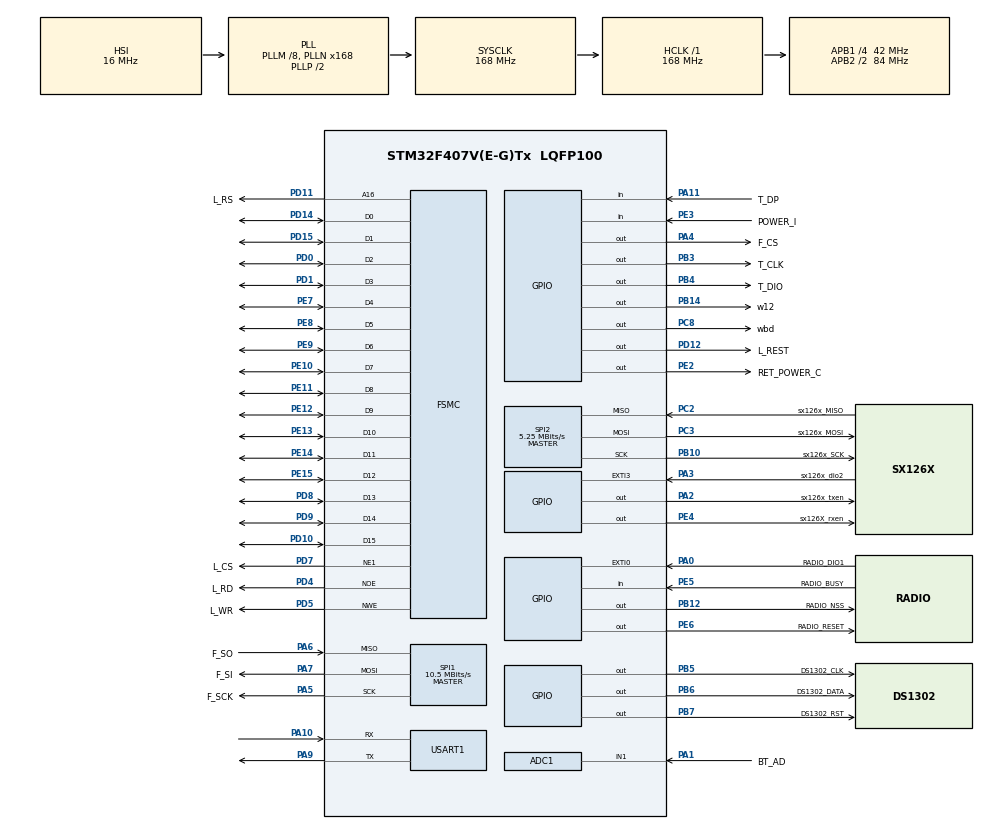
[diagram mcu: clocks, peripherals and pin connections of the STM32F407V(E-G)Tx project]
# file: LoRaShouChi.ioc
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ADC1.Channel-0\#ChannelRegularConversion=ADC_CHANNEL_1
ADC1.NbrOfConversionFlag=1
ADC1.Rank-0\#ChannelRegularConversion=1
ADC1.SamplingTime-0\#ChannelRegularConversion=ADC_SAMPLETIME_3CYCLES
ADC1.master=1
Mcu.Family=STM32F4
Mcu.Name=STM32F407V(E-G)Tx
Mcu.Package=LQFP100
NVIC.EXTI0_IRQn=true\:2\:0\:true\:false\:true\:true\:true
NVIC.PriorityGroup=NVIC_PRIORITYGROUP_4
NVIC.TIM8_TRG_COM_TIM14_IRQn=true\:1\:0\:true\:false\:true\:true\:true
PA0-WKUP.GPIO_Label=RADIO_DIO1
PA0-WKUP.GPIO_ModeDefaultEXTI=GPIO_MODE_IT_RISING
PA0-WKUP.GPIO_PuPd=GPIO_PULLDOWN
PA0-WKUP.Signal=GPXTI0
PA1.GPIO_Label=BT_AD
PA1.Signal=ADCx_IN1
PA10.Mode=Asynchronous
PA10.Signal=USART1_RX
PA11.GPIO_Label=T_DP
PA11.Signal=GPIO_Input
PA13.Mode=Serial_Wire
PA13.Signal=SYS_JTMS-SWDIO
PA14.Mode=Serial_Wire
PA14.Signal=SYS_JTCK-SWCLK
PA2.GPIO_Label=sx126x_txen
PA2.GPIO_PuPd=GPIO_PULLUP
PA2.PinState=GPIO_PIN_SET
PA2.Signal=GPIO_Output
PA3.GPIO_Label=sx126x_dio2
PA3.Signal=GPXTI3
PA4.GPIO_Label=F_CS
PA4.GPIO_PuPd=GPIO_NOPULL
PA4.GPIO_Speed=GPIO_SPEED_FREQ_HIGH
PA4.PinState=GPIO_PIN_SET
PA4.Signal=GPIO_Output
PA5.GPIO_Label=F_SCK
PA5.Mode=Full_Duplex_Master
PA5.Signal=SPI1_SCK
PA6.GPIO_Label=F_SO
PA6.Mode=Full_Duplex_Master
PA6.Signal=SPI1_MISO
PA7.GPIO_Label=F_SI
PA7.Mode=Full_Duplex_Master
PA7.Signal=SPI1_MOSI
PA9.Mode=Asynchronous
PA9.Signal=USART1_TX
PB10.GPIO_Label=sx126x_SCK
PB10.Mode=Full_Duplex_Master
PB10.Signal=SPI2_SCK
PB12.GPIO_Label=RADIO_NSS
PB12.GPIO_PuPd=GPIO_NOPULL
PB12.GPIO_Speed=GPIO_SPEED_FREQ_HIGH
PB12.PinState=GPIO_PIN_SET
PB12.Signal=GPIO_Output
PB14.GPIO_Label=w12
PB14.GPIO_PuPd=GPIO_PULLUP
PB14.PinState=GPIO_PIN_SET
PB14.Signal=GPIO_Output
PB3.GPIO_Label=T_CLK
PB3.GPIO_PuPd=GPIO_PULLUP
PB3.GPIO_Speed=GPIO_SPEED_FREQ_MEDIUM
PB3.Signal=GPIO_Output
PB4.GPIO_Label=T_DIO
PB4.GPIO_PuPd=GPIO_PULLUP
PB4.GPIO_Speed=GPIO_SPEED_FREQ_MEDIUM
PB4.Signal=GPIO_Output
PB5.GPIO_Label=DS1302_CLK
PB5.GPIO_Speed=GPIO_SPEED_FREQ_MEDIUM
PB5.Signal=GPIO_Output
PB6.GPIO_Label=DS1302_DATA
PB6.GPIO_Speed=GPIO_SPEED_FREQ_MEDIUM
PB6.Signal=GPIO_Output
PB7.GPIO_Label=DS1302_RST
PB7.GPIO_Speed=GPIO_SPEED_FREQ_MEDIUM
PB7.Signal=GPIO_Output
PC2.GPIO_Label=sx126x_MISO
PC2.Mode=Full_Duplex_Master
PC2.Signal=SPI2_MISO
PC3.GPIO_Label=sx126x_MOSI
PC3.Mode=Full_Duplex_Master
PC3.Signal=SPI2_MOSI
PC8.GPIO_Label=wbd
PC8.GPIO_PuPd=GPIO_PULLUP
PC8.PinState=GPIO_PIN_SET
PC8.Signal=GPIO_Output
PD0.Mode=16b-d1
PD0.Signal=FSMC_D2
PD1.Mode=16b-d1
PD1.Signal=FSMC_D3
PD10.Mode=16b-d1
PD10.Signal=FSMC_D15
PD11.GPIO_Label=L_RS
PD11.Mode=A16_1
PD11.Signal=FSMC_A16
PD12.GPIO_Label=L_REST
PD12.GPIO_PuPd=GPIO_PULLUP
PD12.PinState=GPIO_PIN_SET
PD12.Signal=GPIO_Output
PD14.Mode=16b-d1
PD14.Signal=FSMC_D0
PD15.Mode=16b-d1
PD15.Signal=FSMC_D1
PD4.GPIO_Label=L_RD
PD4.Mode=Lcd1
PD4.Signal=FSMC_NOE
PD5.GPIO_Label=L_WR
PD5.Mode=Lcd1
PD5.Signal=FSMC_NWE
PD7.GPIO_Label=L_CS
PD7.Mode=NorPsramChipSelect1_1
PD7.Signal=FSMC_NE1
PD8.Mode=16b-d1
PD8.Signal=FSMC_D13
PD9.Mode=16b-d1
PD9.Signal=FSMC_D14
PE10.Mode=16b-d1
PE10.Signal=FSMC_D7
PE11.Mode=16b-d1
PE11.Signal=FSMC_D8
PE12.Mode=16b-d1
PE12.Signal=FSMC_D9
PE13.Mode=16b-d1
PE13.Signal=FSMC_D10
PE14.Mode=16b-d1
PE14.Signal=FSMC_D11
PE15.Mode=16b-d1
PE15.Signal=FSMC_D12
PE2.GPIO_Label=RET_POWER_C
PE2.GPIO_PuPd=GPIO_PULLUP
PE2.PinState=GPIO_PIN_SET
PE2.Signal=GPIO_Output
PE3.GPIO_Label=POWER_I
PE3.Signal=GPIO_Input
PE4.GPIO_Label=sx126X_rxen
PE4.GPIO_PuPd=GPIO_PULLUP
PE4.PinState=GPIO_PIN_SET
PE4.Signal=GPIO_Output
PE5.GPIO_Label=RADIO_BUSY
PE5.GPIO_PuPd=GPIO_PULLUP
PE5.Signal=GPIO_Input
PE6.GPIO_Label=RADIO_RESET
PE6.GPIO_PuPd=GPIO_PULLUP
PE6.PinState=GPIO_PIN_SET
PE6.Signal=GPIO_Output
PE7.Mode=16b-d1
PE7.Signal=FSMC_D4
PE8.Mode=16b-d1
PE8.Signal=FSMC_D5
PE9.Mode=16b-d1
PE9.Signal=FSMC_D6
PH0-OSC_IN.Mode=HSE-External-Oscillator
PH0-OSC_IN.Signal=RCC_OSC_IN
PH1-OSC_OUT.Mode=HSE-External-Oscillator
PH1-OSC_OUT.Signal=RCC_OSC_OUT
ProjectManager.HeapSize=0x200
ProjectManager.StackSize=0x400
ProjectManager.TargetToolchain=Other Toolchains (GPDSC)
RCC.48MHZClocksFreq_Value=84000000
RCC.AHBFreq_Value=168000000
RCC.APB1CLKDivider=RCC_HCLK_DIV4
RCC.APB1Freq_Value=42000000
RCC.APB1TimFreq_Value=84000000
RCC.APB2CLKDivider=RCC_HCLK_DIV2
RCC.APB2Freq_Value=84000000
RCC.APB2TimFreq_Value=168000000
RCC.CortexFreq_Value=168000000
RCC.HCLKFreq_Value=168000000
RCC.HSE_VALUE=8000000
RCC.HSI_VALUE=16000000
RCC.LSE_VALUE=32768
RCC.PLLM=8
RCC.PLLN=168
RCC.SYSCLKFreq_VALUE=168000000
RCC.SYSCLKSource=RCC_SYSCLKSOURCE_PLLCLK
RCC.VCOOutputFreq_Value=336000000
SH.ADCx_IN1.0=ADC1_IN1,IN1
SPI1.BaudRatePrescaler=SPI_BAUDRATEPRESCALER_8
SPI1.CalculateBaudRate=10.5 MBits/s
SPI1.Direction=SPI_DIRECTION_2LINES
SPI1.Mode=SPI_MODE_MASTER
SPI1.VirtualType=VM_MASTER
SPI2.BaudRatePrescaler=SPI_BAUDRATEPRESCALER_8
SPI2.CalculateBaudRate=5.25 MBits/s
SPI2.Direction=SPI_DIRECTION_2LINES
SPI2.Mode=SPI_MODE_MASTER
SPI2.VirtualType=VM_MASTER
TIM14.Period=10000
TIM14.Prescaler=84
USART1.VirtualMode=VM_ASYNC
VP_TIM14_VS_ClockSourceINT.Mode=Enable_Timer
board=custom

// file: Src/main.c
/* USER CODE BEGIN Header */
/**
  ******************************************************************************
  * @file           : main.c
  * @brief          : Main program body
  ******************************************************************************
  * @attention
  *
  * <h2><center>&copy; Copyright (c) 2020 STMicroelectronics.
  * All rights reserved.</center></h2>
  *
  * This software component is licensed by ST under BSD 3-Clause license,
  * the "License"; You may not use this file except in compliance with the
  * License. You may obtain a copy of the License at:
  *                        opensource.org/licenses/BSD-3-Clause
  *
  ******************************************************************************
  */
/* USER CODE END Header */

#include "main.h"
#include "adc.h"
#include "spi.h"
#include "tim.h"
#include "usart.h"
#include "gpio.h"
#include "fsmc.h"

/* USER CODE BEGIN Includes */
#include "wfSys.h"
#include "LoraProc.h"
#include "TMRList.h"
#include "..\wf\LCD\lcd.h"
#include "FRAM.h"
#include "DS1302.h"
#include <stdio.h>
#include "CP1616_Client.h"
#include "..\wf\LCD\logo1.h"
#include "..\wf\LCD\logo2.h"
#include "..\LoRaShouChi\strHYGL.h"
#include "..\wf\LCD\Strings4Show.h"
/* USER CODE END Includes */

void SystemClock_Config(void);

/* USER CODE BEGIN 0 */
void ShowBatV(void);
void ShowLogo(void);
/* USER CODE END 0 */

int main(void)
{

  /* MCU Configuration--------------------------------------------------------*/

  /* Reset of all peripherals, Initializes the Flash interface and the Systick. */
  HAL_Init();

  /* Configure the system clock */
  SystemClock_Config();

  /* Initialize all configured peripherals */
  MX_GPIO_Init();
  MX_FSMC_Init();
  MX_SPI1_Init();
  MX_SPI2_Init();
  MX_ADC1_Init();
  MX_USART1_UART_Init();
  MX_TIM14_Init();
  /* USER CODE BEGIN 2 */
  wfDelay_init(168);
  TmrListInit();
  LoRaProc_Init();
  FRAM_Init();
  LCD_Init();
  DS1302_Init();
  DS1302_Switch(1);
  DS1302_SetHour24(1);
  DS1302_GetTime();
  CP1616_Client_Init();
  CP1616_Client_Addr = 0x0001;
  ShowLogo();
  /* USER CODE END 2 */

  /* Infinite loop */
  /* USER CODE BEGIN WHILE */
  ShowBatV();
  while (HAL_GetTick() < 3000);//开机画面3秒
  while (1)
  {
    /* USER CODE END WHILE */

  }
}

void SystemClock_Config(void)
{
  RCC_OscInitTypeDef RCC_OscInitStruct = {0};
  RCC_ClkInitTypeDef RCC_ClkInitStruct = {0};

  /** Configure the main internal regulator output voltage
  */
  __HAL_RCC_PWR_CLK_ENABLE();
  __HAL_PWR_VOLTAGESCALING_CONFIG(PWR_REGULATOR_VOLTAGE_SCALE1);
  /** Initializes the CPU, AHB and APB busses clocks
  */
  RCC_OscInitStruct.OscillatorType = RCC_OSCILLATORTYPE_HSI;
  RCC_OscInitStruct.HSIState = RCC_HSI_ON;
  RCC_OscInitStruct.HSICalibrationValue = RCC_HSICALIBRATION_DEFAULT;
  RCC_OscInitStruct.PLL.PLLState = RCC_PLL_ON;
  RCC_OscInitStruct.PLL.PLLSource = RCC_PLLSOURCE_HSI;
  RCC_OscInitStruct.PLL.PLLM = 8;
  RCC_OscInitStruct.PLL.PLLN = 168;
  RCC_OscInitStruct.PLL.PLLP = RCC_PLLP_DIV2;
  RCC_OscInitStruct.PLL.PLLQ = 4;
  if (HAL_RCC_OscConfig(&RCC_OscInitStruct) != HAL_OK)
  {
    Error_Handler();
  }
  /** Initializes the CPU, AHB and APB busses clocks
  */
  RCC_ClkInitStruct.ClockType = RCC_CLOCKTYPE_HCLK|RCC_CLOCKTYPE_SYSCLK
                              |RCC_CLOCKTYPE_PCLK1|RCC_CLOCKTYPE_PCLK2;
  RCC_ClkInitStruct.SYSCLKSource = RCC_SYSCLKSOURCE_PLLCLK;
  RCC_ClkInitStruct.AHBCLKDivider = RCC_SYSCLK_DIV1;
  RCC_ClkInitStruct.APB1CLKDivider = RCC_HCLK_DIV4;
  RCC_ClkInitStruct.APB2CLKDivider = RCC_HCLK_DIV2;

  if (HAL_RCC_ClockConfig(&RCC_ClkInitStruct, FLASH_LATENCY_5) != HAL_OK)
  {
    Error_Handler();
  }
}

/* USER CODE BEGIN 4 */
void ShowBatV(void)
{
	unsigned char i;
	unsigned int AD;
	unsigned char x;
	unsigned int ix;
	unsigned char DisplayLine[31];
	unsigned long l;
	AD = 0;
	for (i = 0; i < 8; i++)
	{
		HAL_ADC_Start(&hadc1);
		HAL_ADC_PollForConversion(&hadc1, 100);
		AD += HAL_ADC_GetValue(&hadc1);
		wfDelay_ms(5);
	}
	AD = AD >> 3;
	l = ((unsigned long)AD) * 1000;
	l = l * 3;
	l = l / 6;
	ix = (unsigned int)(l >> 9);
	if (ix < 583)
		ix = 0;
	else
	{
		ix = ix - 583;
		if (ix > 100)
			ix = 100;
	}
	x = sprintf(DisplayLine, "%3u%%", ix);
	LCD_ShowString(208, 1, 24, 16, 16, DisplayLine);
}
void  ShowLogo(void)
{
	LCD_Fill(0, 0, 479, 175, WHITE);
	LCD_Fill(0, 175, 479, 799, BLUE);
	LCD_Drawbmp16(5, 5, 172, 86, gImage_logo1);
	LCD_Drawbmp16(190, 50, 256, 108, gImage_logo2);
	LCD_DrawString(112, 340, 256, 64, strHYGL,WHITE);
	LCD_DrawString(0, 460, 480, 48, strDevice, WHITE);
}
/* USER CODE END 4 */

void Error_Handler(void)
{
}

/************************ (C) COPYRIGHT STMicroelectronics *****END OF FILE****/
